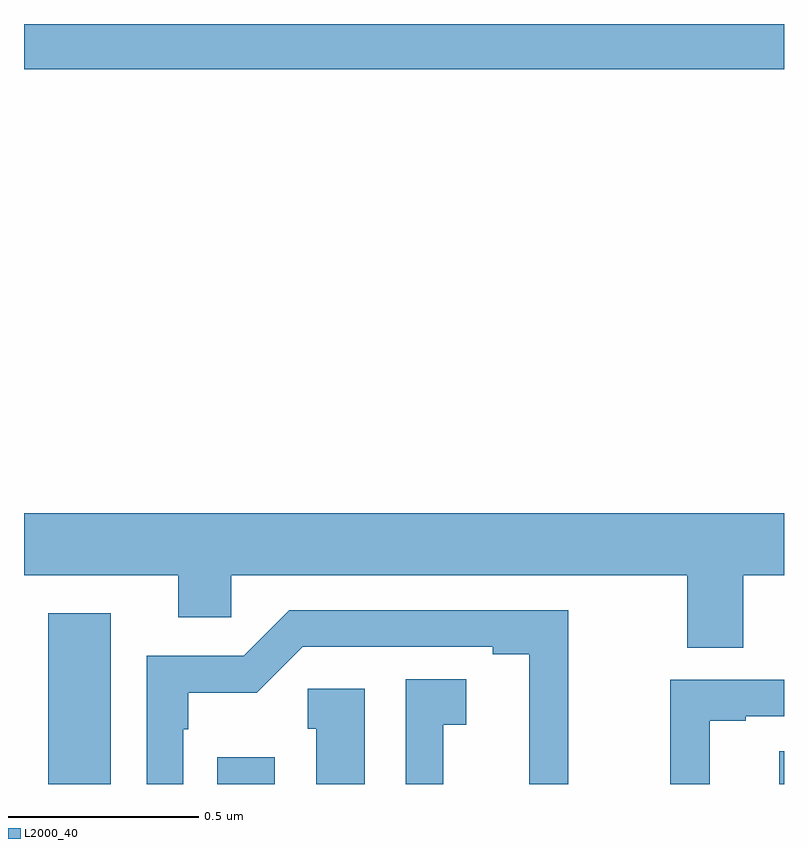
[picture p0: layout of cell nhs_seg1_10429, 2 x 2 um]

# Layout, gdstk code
import gdstk
lib = gdstk.Library(unit=1e-6, precision=1e-09)
def R(c, l, rs):  # rectangles x0, y0, x1, y1
    for r in rs: c.add(gdstk.rectangle(r[:2], r[2:], *l))
def P(c, l, *ps):  # polygons
    for p in ps: c.add(gdstk.Polygon(p, *l))
L2000_40 = (2000, 40)

nhs_seg1_10429 = lib.new_cell('nhs_seg1_10429')
R(nhs_seg1_10429, L2000_40, [(241.064,535.199,241.228,535.648), (241.508,535.199,241.66,535.27), (242.987,535.199,243,535.285), (241,537.08,243,537.199)])
P(nhs_seg1_10429, L2000_40, [(242.893,535.748),(243,535.748),(243,535.912),(241,535.912),(241,535.748),(241.406,535.748),(241.406,535.638),(241.545,535.638),(241.545,535.748),(242.746,535.748),(242.746,535.558),(242.893,535.558)],
  [(241.419,535.343),(241.432,535.343),(241.432,535.439),(241.613,535.439),(241.734,535.56),(242.234,535.56),(242.234,535.54),(242.33,535.54),(242.33,535.257),(242.329,535.257),(242.329,535.199),(242.432,535.199),(242.432,535.656),(241.698,535.656),(241.578,535.536),(241.323,535.536),(241.323,535.199),(241.419,535.199)],
  [(242.103,535.355),(242.164,535.355),(242.164,535.475),(242.004,535.475),(242.004,535.199),(242.103,535.199)],
  [(242.804,535.365),(242.899,535.365),(242.899,535.377),(243,535.377),(243,535.473),(242.701,535.473),(242.701,535.199),(242.804,535.199)],
  [(241.897,535.45),(241.747,535.45),(241.747,535.344),(241.769,535.344),(241.769,535.199),(241.897,535.199)])

lib.write_gds('nhs_seg1_10429.gds')
